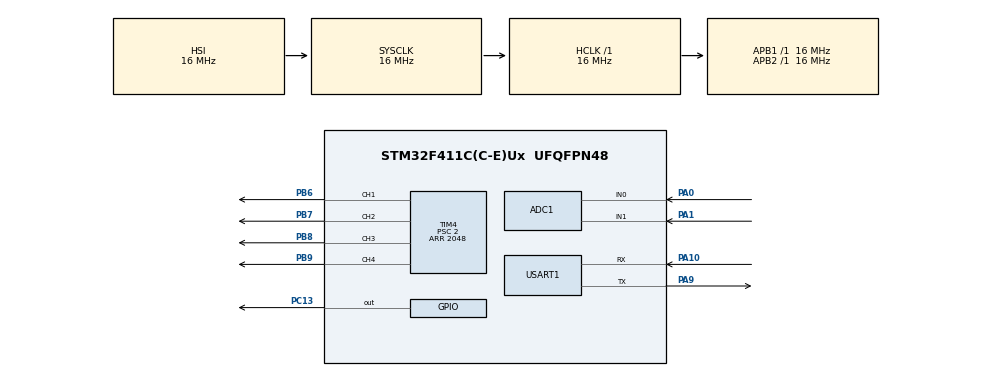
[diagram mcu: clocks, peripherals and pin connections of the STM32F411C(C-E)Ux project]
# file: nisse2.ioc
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ADC1.Channel-0\#ChannelRegularConversion=ADC_CHANNEL_0
ADC1.Channel-1\#ChannelRegularConversion=ADC_CHANNEL_1
ADC1.ContinuousConvMode=ENABLE
ADC1.NbrOfConversion=2
ADC1.NbrOfConversionFlag=1
ADC1.Rank-0\#ChannelRegularConversion=1
ADC1.Rank-1\#ChannelRegularConversion=2
ADC1.SamplingTime-0\#ChannelRegularConversion=ADC_SAMPLETIME_480CYCLES
ADC1.SamplingTime-1\#ChannelRegularConversion=ADC_SAMPLETIME_480CYCLES
ADC1.ScanConvMode=ENABLE
ADC1.master=1
Mcu.Family=STM32F4
Mcu.Name=STM32F411C(C-E)Ux
Mcu.Package=UFQFPN48
NVIC.PriorityGroup=NVIC_PRIORITYGROUP_4
NVIC.USART1_IRQn=true\:0\:0\:false\:false\:true\:true\:true
PA0-WKUP.Signal=ADCx_IN0
PA1.Signal=ADCx_IN1
PA10.Mode=Asynchronous
PA10.Signal=USART1_RX
PA9.Mode=Asynchronous
PA9.Signal=USART1_TX
PB6.Signal=S_TIM4_CH1
PB7.Signal=S_TIM4_CH2
PB8.Signal=S_TIM4_CH3
PB9.Signal=S_TIM4_CH4
PC13-ANTI_TAMP.Signal=GPIO_Output
ProjectManager.HeapSize=0x200
ProjectManager.StackSize=0x400
ProjectManager.TargetToolchain=TrueSTUDIO
RCC.AHBFreq_Value=16000000
RCC.APB1Freq_Value=16000000
RCC.APB2Freq_Value=16000000
RCC.CortexFreq_Value=16000000
RCC.HSE_VALUE=25000000
RCC.HSI_VALUE=16000000
RCC.LSE_VALUE=32768
RCC.SYSCLKFreq_VALUE=16000000
RCC.VCOOutputFreq_Value=192000000
SH.ADCx_IN0.0=ADC1_IN0,IN0
SH.ADCx_IN1.0=ADC1_IN1,IN1
SH.S_TIM4_CH1.0=TIM4_CH1,PWM Generation1 CH1
SH.S_TIM4_CH2.0=TIM4_CH2,PWM Generation2 CH2
SH.S_TIM4_CH3.0=TIM4_CH3,PWM Generation3 CH3
SH.S_TIM4_CH4.0=TIM4_CH4,PWM Generation4 CH4
TIM4.AutoReloadPreload=TIM_AUTORELOAD_PRELOAD_ENABLE
TIM4.Channel-PWM\ Generation1\ CH1=TIM_CHANNEL_1
TIM4.Channel-PWM\ Generation2\ CH2=TIM_CHANNEL_2
TIM4.Channel-PWM\ Generation3\ CH3=TIM_CHANNEL_3
TIM4.Channel-PWM\ Generation4\ CH4=TIM_CHANNEL_4
TIM4.OC1Preload_PWM=ENABLE
TIM4.Period=2048
TIM4.Prescaler=2
TIM4.Pulse-PWM\ Generation1\ CH1=0
USART1.VirtualMode=VM_ASYNC
board=custom

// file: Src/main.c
/* USER CODE BEGIN Header */
/**
  ******************************************************************************
  * @file           : main.c
  * @brief          : Main program body
  ******************************************************************************
  * @attention
  *
  * <h2><center>&copy; Copyright (c) 2020 STMicroelectronics.
  * All rights reserved.</center></h2>
  *
  * This software component is licensed by ST under BSD 3-Clause license,
  * the "License"; You may not use this file except in compliance with the
  * License. You may obtain a copy of the License at:
  *                        opensource.org/licenses/BSD-3-Clause
  *
  ******************************************************************************
  */
/* USER CODE END Header */

#include "main.h"

ADC_HandleTypeDef hadc1;

TIM_HandleTypeDef htim4;

UART_HandleTypeDef huart1;

void SystemClock_Config(void);
static void MX_GPIO_Init(void);
static void MX_USART1_UART_Init(void);
static void MX_ADC1_Init(void);
static void MX_TIM4_Init(void);

/* USER CODE BEGIN 0 */

#include "string.h"
#include "stdio.h"

int ADCValue1 = 0;
int ADCValue2 = 0;

#define MSGLENGTH 11
uint8_t usartBuf[MSGLENGTH];

#define JOYSTICK_MIDVALUE 2048
#define JOYSTICK_DEADZONE 100

int uartSyncMode = 0;	// in syncmode we read one byte at a time and search for \n character

/*
 * Process incoming UART data from Bluetooth module (HM-10 BLE)
 */
void HAL_UART_RxCpltCallback(UART_HandleTypeDef *huart)
{
	if (huart->Instance == USART1)
	{
		if(uartSyncMode)
		{
			// if detecting a \n character we have found a "frame" so start receiving frame by frame
			if(usartBuf[0] == '\n')
			{
				uartSyncMode = 0;
				//HAL_UART_Receive_DMA(&huart1, usartBuf, MSGLENGTH);
				HAL_UART_Receive_IT(&huart1, usartBuf, MSGLENGTH);
			}

			HAL_UART_Receive_IT(&huart1, usartBuf, 1);
			return;
		}

		if(usartBuf[MSGLENGTH-1] == '\n')	// process data
		{
			int val1, val2;

			if(sscanf((char*)usartBuf, "%x %x", &val1, &val2) == 2)
			{
				ADCValue1 = val1;
				ADCValue2 = val2;
			}

			/* Receive MSGLENGTH new bytes */
			//HAL_UART_Receive_DMA(&huart1, usartBuf, MSGLENGTH);
			HAL_UART_Receive_IT(&huart1, usartBuf, MSGLENGTH);
		}
		else	// end of line char was not received, go to sync mode
		{
			uartSyncMode = 1;

			/* Receive one byte and try to synchronize */
			HAL_UART_Receive_IT(&huart1, usartBuf, 1);
		}
	}
}

/*
 * Adjust the 4 PWM outputs that controls the DRV8835 module
 */
void DRV8835PWMControl(uint16_t val1, uint16_t val2)
{
	if(val1 > (JOYSTICK_MIDVALUE + JOYSTICK_DEADZONE))
	{
		uint16_t speed = val1 - JOYSTICK_MIDVALUE;

		__HAL_TIM_SET_COMPARE(&htim4, TIM_CHANNEL_1, 0);
		__HAL_TIM_SET_COMPARE(&htim4, TIM_CHANNEL_2, speed);
	}
	else
		if(val1 < (JOYSTICK_MIDVALUE - JOYSTICK_DEADZONE))
		{
			int speed = JOYSTICK_MIDVALUE - val1;

			__HAL_TIM_SET_COMPARE(&htim4, TIM_CHANNEL_1, speed);
			__HAL_TIM_SET_COMPARE(&htim4, TIM_CHANNEL_2, 0);

		}
		else
		{
			__HAL_TIM_SET_COMPARE(&htim4, TIM_CHANNEL_1, 0);
			__HAL_TIM_SET_COMPARE(&htim4, TIM_CHANNEL_2, 0);
		}

	if(val2 > (JOYSTICK_MIDVALUE + JOYSTICK_DEADZONE))
	{
		uint16_t speed = val2 - JOYSTICK_MIDVALUE;

		__HAL_TIM_SET_COMPARE(&htim4, TIM_CHANNEL_3, 0);
		__HAL_TIM_SET_COMPARE(&htim4, TIM_CHANNEL_4, speed);
	}
	else
		if(val2 < (JOYSTICK_MIDVALUE - JOYSTICK_DEADZONE))
		{
			uint16_t speed = JOYSTICK_MIDVALUE - val2;

			__HAL_TIM_SET_COMPARE(&htim4, TIM_CHANNEL_3, speed);
			__HAL_TIM_SET_COMPARE(&htim4, TIM_CHANNEL_4, 0);
		}
		else
		{
			__HAL_TIM_SET_COMPARE(&htim4, TIM_CHANNEL_3, 0);
			__HAL_TIM_SET_COMPARE(&htim4, TIM_CHANNEL_4, 0);
		}

}

/* USER CODE END 0 */

int main(void)
{

  /* MCU Configuration--------------------------------------------------------*/

  /* Reset of all peripherals, Initializes the Flash interface and the Systick. */
  HAL_Init();

  /* Configure the system clock */
  SystemClock_Config();

  /* Initialize all configured peripherals */
  MX_GPIO_Init();
  MX_USART1_UART_Init();
  MX_ADC1_Init();
  MX_TIM4_Init();
  /* USER CODE BEGIN 2 */
  uartSyncMode = 1;	// start by receiving byte by byte until we get a end of line character
  HAL_UART_Receive_IT(&huart1, usartBuf, 1);
  /* USER CODE END 2 */

  /* Infinite loop */
  /* USER CODE BEGIN WHILE */
  while (1)
  {
#ifdef USEADC
    if (HAL_ADC_Start(&hadc1) != HAL_OK)
    {
        /* Start Conversation Error */
        // Error_Handler();
    }
    if (HAL_ADC_PollForConversion(&hadc1, 500) != HAL_OK)
    {
        /* End Of Conversion flag not set on time */
        // Error_Handler();
      ADCValue1=-1;
    }
    else
    {
        /* ADC conversion completed */
        /*##-5- Get the converted value of regular channel ########################*/
      ADCValue1 = HAL_ADC_GetValue(&hadc1);
    }

    if (HAL_ADC_PollForConversion(&hadc1, 500) != HAL_OK)
    {
        /* End Of Conversion flag not set on time */
        // Error_Handler();
        ADCValue2=-1;
    }
    else
    {
        /* ADC conversion completed */
        /*##-5- Get the converted value of regular channel ########################*/
        ADCValue2 = HAL_ADC_GetValue(&hadc1);
    }
    HAL_ADC_Stop(&hadc1);
#endif

    DRV8835PWMControl(ADCValue1, ADCValue2);
    /* USER CODE END WHILE */

  }
}

void SystemClock_Config(void)
{
  RCC_OscInitTypeDef RCC_OscInitStruct = {0};
  RCC_ClkInitTypeDef RCC_ClkInitStruct = {0};

  /** Configure the main internal regulator output voltage
  */
  __HAL_RCC_PWR_CLK_ENABLE();
  __HAL_PWR_VOLTAGESCALING_CONFIG(PWR_REGULATOR_VOLTAGE_SCALE1);
  /** Initializes the CPU, AHB and APB busses clocks
  */
  RCC_OscInitStruct.OscillatorType = RCC_OSCILLATORTYPE_HSI;
  RCC_OscInitStruct.HSIState = RCC_HSI_ON;
  RCC_OscInitStruct.HSICalibrationValue = RCC_HSICALIBRATION_DEFAULT;
  RCC_OscInitStruct.PLL.PLLState = RCC_PLL_NONE;
  if (HAL_RCC_OscConfig(&RCC_OscInitStruct) != HAL_OK)
  {
    Error_Handler();
  }
  /** Initializes the CPU, AHB and APB busses clocks
  */
  RCC_ClkInitStruct.ClockType = RCC_CLOCKTYPE_HCLK|RCC_CLOCKTYPE_SYSCLK
                              |RCC_CLOCKTYPE_PCLK1|RCC_CLOCKTYPE_PCLK2;
  RCC_ClkInitStruct.SYSCLKSource = RCC_SYSCLKSOURCE_HSI;
  RCC_ClkInitStruct.AHBCLKDivider = RCC_SYSCLK_DIV1;
  RCC_ClkInitStruct.APB1CLKDivider = RCC_HCLK_DIV1;
  RCC_ClkInitStruct.APB2CLKDivider = RCC_HCLK_DIV1;

  if (HAL_RCC_ClockConfig(&RCC_ClkInitStruct, FLASH_LATENCY_0) != HAL_OK)
  {
    Error_Handler();
  }
}

static void MX_ADC1_Init(void)
{

  ADC_ChannelConfTypeDef sConfig = {0};

  /** Configure the global features of the ADC (Clock, Resolution, Data Alignment and number of conversion)
  */
  hadc1.Instance = ADC1;
  hadc1.Init.ClockPrescaler = ADC_CLOCK_SYNC_PCLK_DIV2;
  hadc1.Init.Resolution = ADC_RESOLUTION_12B;
  hadc1.Init.ScanConvMode = ENABLE;
  hadc1.Init.ContinuousConvMode = ENABLE;
  hadc1.Init.DiscontinuousConvMode = DISABLE;
  hadc1.Init.ExternalTrigConvEdge = ADC_EXTERNALTRIGCONVEDGE_NONE;
  hadc1.Init.ExternalTrigConv = ADC_SOFTWARE_START;
  hadc1.Init.DataAlign = ADC_DATAALIGN_RIGHT;
  hadc1.Init.NbrOfConversion = 2;
  hadc1.Init.DMAContinuousRequests = DISABLE;
  hadc1.Init.EOCSelection = ADC_EOC_SINGLE_CONV;
  if (HAL_ADC_Init(&hadc1) != HAL_OK)
  {
    Error_Handler();
  }
  /** Configure for the selected ADC regular channel its corresponding rank in the sequencer and its sample time.
  */
  sConfig.Channel = ADC_CHANNEL_0;
  sConfig.Rank = 1;
  sConfig.SamplingTime = ADC_SAMPLETIME_480CYCLES;
  if (HAL_ADC_ConfigChannel(&hadc1, &sConfig) != HAL_OK)
  {
    Error_Handler();
  }
  /** Configure for the selected ADC regular channel its corresponding rank in the sequencer and its sample time.
  */
  sConfig.Channel = ADC_CHANNEL_1;
  sConfig.Rank = 2;
  if (HAL_ADC_ConfigChannel(&hadc1, &sConfig) != HAL_OK)
  {
    Error_Handler();
  }

}

static void MX_TIM4_Init(void)
{

  TIM_MasterConfigTypeDef sMasterConfig = {0};
  TIM_OC_InitTypeDef sConfigOC = {0};

  htim4.Instance = TIM4;
  htim4.Init.Prescaler = 2;
  htim4.Init.CounterMode = TIM_COUNTERMODE_UP;
  htim4.Init.Period = 2048;
  htim4.Init.ClockDivision = TIM_CLOCKDIVISION_DIV1;
  htim4.Init.AutoReloadPreload = TIM_AUTORELOAD_PRELOAD_ENABLE;
  if (HAL_TIM_PWM_Init(&htim4) != HAL_OK)
  {
    Error_Handler();
  }
  sMasterConfig.MasterOutputTrigger = TIM_TRGO_RESET;
  sMasterConfig.MasterSlaveMode = TIM_MASTERSLAVEMODE_DISABLE;
  if (HAL_TIMEx_MasterConfigSynchronization(&htim4, &sMasterConfig) != HAL_OK)
  {
    Error_Handler();
  }
  sConfigOC.OCMode = TIM_OCMODE_PWM1;
  sConfigOC.Pulse = 0;
  sConfigOC.OCPolarity = TIM_OCPOLARITY_HIGH;
  sConfigOC.OCFastMode = TIM_OCFAST_DISABLE;
  if (HAL_TIM_PWM_ConfigChannel(&htim4, &sConfigOC, TIM_CHANNEL_1) != HAL_OK)
  {
    Error_Handler();
  }
  if (HAL_TIM_PWM_ConfigChannel(&htim4, &sConfigOC, TIM_CHANNEL_2) != HAL_OK)
  {
    Error_Handler();
  }
  if (HAL_TIM_PWM_ConfigChannel(&htim4, &sConfigOC, TIM_CHANNEL_3) != HAL_OK)
  {
    Error_Handler();
  }
  if (HAL_TIM_PWM_ConfigChannel(&htim4, &sConfigOC, TIM_CHANNEL_4) != HAL_OK)
  {
    Error_Handler();
  }
  HAL_TIM_MspPostInit(&htim4);

}

static void MX_USART1_UART_Init(void)
{

  huart1.Instance = USART1;
  huart1.Init.BaudRate = 9600;
  huart1.Init.WordLength = UART_WORDLENGTH_8B;
  huart1.Init.StopBits = UART_STOPBITS_1;
  huart1.Init.Parity = UART_PARITY_NONE;
  huart1.Init.Mode = UART_MODE_TX_RX;
  huart1.Init.HwFlowCtl = UART_HWCONTROL_NONE;
  huart1.Init.OverSampling = UART_OVERSAMPLING_16;
  if (HAL_UART_Init(&huart1) != HAL_OK)
  {
    Error_Handler();
  }

}

static void MX_GPIO_Init(void)
{
  GPIO_InitTypeDef GPIO_InitStruct = {0};

  /* GPIO Ports Clock Enable */
  __HAL_RCC_GPIOC_CLK_ENABLE();
  __HAL_RCC_GPIOA_CLK_ENABLE();
  __HAL_RCC_GPIOB_CLK_ENABLE();

  /*Configure GPIO pin Output Level */
  HAL_GPIO_WritePin(GPIOC, GPIO_PIN_13, GPIO_PIN_RESET);

  /*Configure GPIO pin : PC13 */
  GPIO_InitStruct.Pin = GPIO_PIN_13;
  GPIO_InitStruct.Mode = GPIO_MODE_OUTPUT_PP;
  GPIO_InitStruct.Pull = GPIO_NOPULL;
  GPIO_InitStruct.Speed = GPIO_SPEED_FREQ_LOW;
  HAL_GPIO_Init(GPIOC, &GPIO_InitStruct);

}

void Error_Handler(void)
{
}

/************************ (C) COPYRIGHT STMicroelectronics *****END OF FILE****/
